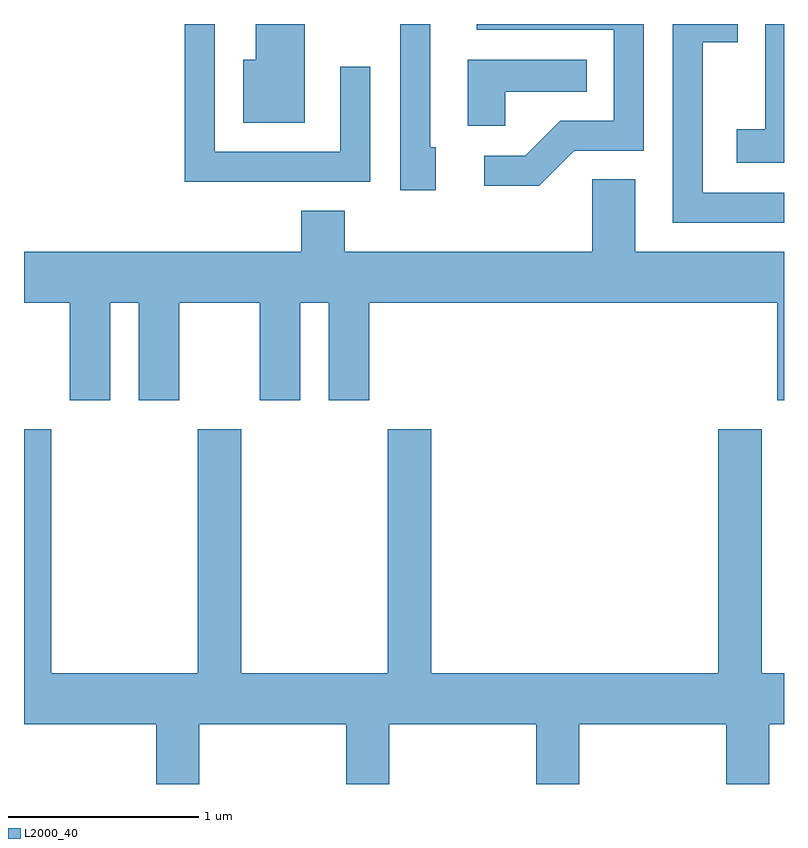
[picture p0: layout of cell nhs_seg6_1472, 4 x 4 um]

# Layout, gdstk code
import gdstk
lib = gdstk.Library(unit=1e-6, precision=1e-09)
def P(c, l, *ps):  # polygons
    for p in ps: c.add(gdstk.Polygon(p, *l))
L2000_40 = (2000, 40)

nhs_seg6_1472 = lib.new_cell('nhs_seg6_1472')
P(nhs_seg6_1472, L2000_40, [(233.611,1557.274),(233.184,1557.274),(233.184,1558.066),(233.368,1558.066),(233.368,1558.162),(233.026,1558.162),(233.026,1557.116),(233.611,1557.116)],
  [(231.089,1558.162),(230.831,1558.162),(230.831,1557.974),(230.766,1557.974),(230.766,1557.641),(231.089,1557.641)],
  [(232.507,1557.496),(232.874,1557.496),(232.874,1558.162),(231.993,1558.162),(231.993,1558.131),(232.716,1558.131),(232.716,1557.654),(232.434,1557.654),(232.249,1557.469),(232.033,1557.469),(232.033,1557.311),(232.322,1557.311)],
  [(231.434,1557.938),(231.276,1557.938),(231.276,1557.489),(230.614,1557.489),(230.614,1558.162),(230.456,1558.162),(230.456,1557.331),(231.434,1557.331)],
  [(231.779,1557.514),(231.749,1557.514),(231.749,1558.162),(231.591,1558.162),(231.591,1557.286),(231.779,1557.286)],
  [(233.611,1558.162),(233.511,1558.162),(233.511,1557.609),(233.361,1557.609),(233.361,1557.431),(233.611,1557.431)],
  [(232.144,1557.806),(232.573,1557.806),(232.573,1557.974),(231.946,1557.974),(231.946,1557.626),(232.144,1557.626)],
  [(230.064,1556.696),(230.216,1556.696),(230.216,1556.181),(230.429,1556.181),(230.429,1556.696),(230.851,1556.696),(230.851,1556.181),(231.064,1556.181),(231.064,1556.696),(231.216,1556.696),(231.216,1556.181),(231.429,1556.181),(231.429,1556.696),(233.576,1556.696),(233.576,1556.181),(233.611,1556.181),(233.611,1556.964),(232.829,1556.964),(232.829,1557.344),(232.601,1557.344),(232.601,1556.964),(231.299,1556.964),(231.299,1557.179),(231.071,1557.179),(231.071,1556.964),(229.611,1556.964),(229.611,1556.696),(229.851,1556.696),(229.851,1556.181),(230.064,1556.181)],
  [(230.534,1554.476),(231.306,1554.476),(231.306,1554.162),(231.534,1554.162),(231.534,1554.476),(232.306,1554.476),(232.306,1554.162),(232.534,1554.162),(232.534,1554.476),(233.306,1554.476),(233.306,1554.162),(233.534,1554.162),(233.534,1554.476),(233.611,1554.476),(233.611,1554.744),(233.494,1554.744),(233.494,1556.029),(233.266,1556.029),(233.266,1554.744),(231.754,1554.744),(231.754,1556.029),(231.526,1556.029),(231.526,1554.744),(230.754,1554.744),(230.754,1556.029),(230.526,1556.029),(230.526,1554.744),(229.754,1554.744),(229.754,1556.029),(229.611,1556.029),(229.611,1554.476),(230.306,1554.476),(230.306,1554.162),(230.534,1554.162)])

lib.write_gds('nhs_seg6_1472.gds')
